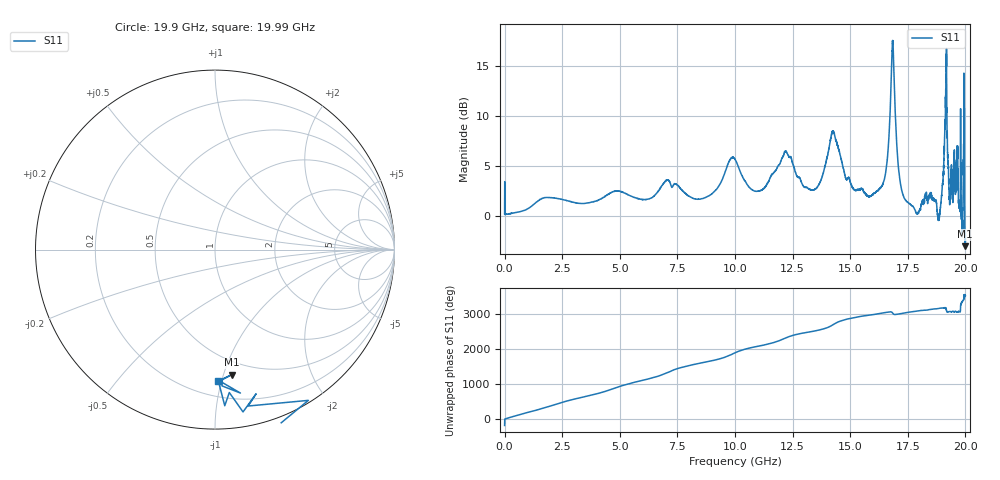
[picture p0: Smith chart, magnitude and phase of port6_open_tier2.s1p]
! Created with skrf 1.8.0 (http://scikit-rf.org).
# GHz S RI R 50.0
!freq ReS11 ImS11
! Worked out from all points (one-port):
!   10001 points, 1 MHz to 20 GHz, reference 50 ohm
!   lowest |S11| = -3.1 dB at 19.99 GHz (marker M1), VSWR 5.74, Z = 19.3 - j53.2 ohm
!   |S11| at or under -10 dB: nowhere
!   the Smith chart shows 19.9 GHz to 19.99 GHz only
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0.001  -1.023 -0.00176
1.508925  0.1812 -1.185
2.500875  -0.5604 1.069
3.346833  -0.2354 -1.127
4.034798  1.186 0.1089
5.00075  -1.144 -0.6752
5.848708  1.214 0.0225
6.886656  -1.412 -0.3206
7.500625  1.422 -0.106
8.648568  -1.213 0.1762
9.40653  0.4289 -1.421
10.0005  0.149 1.914
10.84246  -0.4236 -1.262
11.65242  1.597 0.3165
12.0604  -0.5987 1.87
12.50038  -1.429 -1.154
13.68432  1.39 0.4546
14.0883  -0.5318 2.158
14.30029  -2.611 -0.128
14.53027  -0.4981 -2.044
15.00025  1.389 -0.5169
16.69017  -2.554 0.447
16.91215  -0.5632 4.688
17.50013  -1.065 0.4762
19.08405  0.4861 -2.139
19.29004  -1.31 0.0717
19.99  0.0925 -0.6972
20  -0.00813 -0.7516
